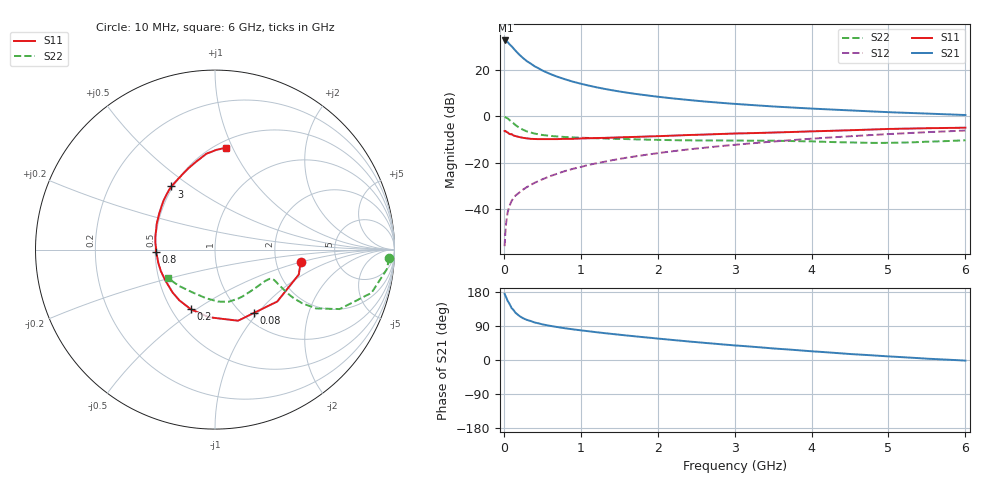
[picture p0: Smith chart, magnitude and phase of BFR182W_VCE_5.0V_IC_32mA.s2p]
! Infineon Technologies  Discrete & RF Semiconductors
! BFR182W
! VCE =  5.0 V,  IC =  32 mA
! Common Emitter S-Parameters:  Jan 2017
# GHz  S  MA  R  50
!  f  S11  S21  S12  S22
! GHz  MAG  ANG  MAG  ANG  MAG  ANG  MAG  ANG
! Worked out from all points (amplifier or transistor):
!   77 points, 10 MHz to 6 GHz, reference 50 ohm
!   highest |S21| = 32.7 dB at 20 MHz (marker M1)
!   |S21| within 3 dB of that: start of sweep to 114.5 MHz
!   unconditionally stable (mu >= 1): 631.6 MHz to 2.214 GHz
!   at 130 MHz: K = 0.51, MSG = 32.1 dB, |S12| = -35.0 dB
!   at 2.2 GHz: K = 1.00, MAG = 11.2 dB, |S12| = -15.0 dB
!   at 6 GHz: K = 0.86, MSG = 3.3 dB, |S12| = -6.1 dB
!   S11 on the Smith chart (normalised r, x): 10 MHz: 2.76, -0.50; 80 MHz: 1.12, -0.96; 200 MHz: 0.62, -0.47; 800 MHz: 0.51, -0.02; 3 GHz: 0.49, +0.42; 6 GHz: 0.56, +0.94
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0.01  0.4827 -8.3  43.2 174.5  0.0016 89.5  0.9716 -2.8
0.02  0.487 -16.6  43.23 169.8  0.0032 90.3  0.9635 -6.5
0.05  0.4517 -39.8  39.73 155.7  0.0087 75.7  0.9044 -15.5
0.08  0.4141 -58.6  34.99 145.6  0.0125 71.7  0.8205 -21.1
0.1  0.4165 -72.0  32.58 137.4  0.015 70.1  0.7697 -25.5
0.15  0.3783 -95.3  26.21 125.0  0.0196 64.7  0.6522 -30.2
0.2  0.3584 -112.2  21.47 116.5  0.0228 66.6  0.5709 -31.6
0.25  0.3455 -125.0  18.04 110.2  0.0265 65.1  0.5149 -31.7
0.3  0.3362 -134.6  15.44 105.8  0.03 67.5  0.4739 -31.1
0.4  0.3257 -148.5  12.01 99.0  0.037 68.7  0.4259 -29.6
0.5  0.3245 -158.2  9.755 94.1  0.044 70.6  0.3978 -28.5
0.6  0.3245 -166.2  8.231 90.2  0.0514 71.4  0.3802 -27.6
0.8  0.3283 -177.6  6.263 83.6  0.0668 72.8  0.3594 -27.2
0.9  0.329 177.8  5.579 80.9  0.0743 72.8  0.3527 -27.5
1.1  0.3379 169.7  4.62 75.9  0.09 72.8  0.3429 -28.7
1.5  0.3532 157.1  3.445 66.8  0.121 71.6  0.3267 -33.4
2.1  0.3797 142.4  2.542 54.7  0.1695 68.4  0.3096 -44.3
3  0.4278 124.7  1.861 38.5  0.2441 61.8  0.3019 -64.8
3.1  0.4312 122.9  1.814 37.1  0.2526 60.9  0.3008 -66.9
4.1  0.4809 106.9  1.447 21.7  0.3389 52.0  0.2858 -89.4
5.1  0.5399 93.9  1.215 8.4  0.4237 42.0  0.2706 -121.4
6  0.5713 83.8  1.07 -1.6  0.4956 32.5  0.3064 -148.7
